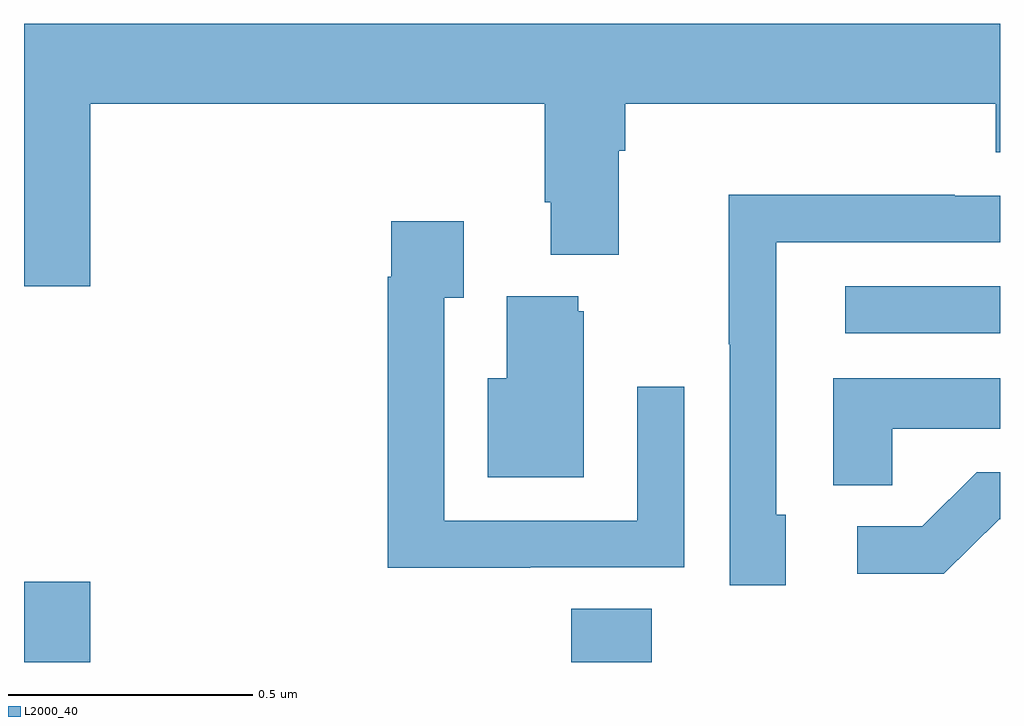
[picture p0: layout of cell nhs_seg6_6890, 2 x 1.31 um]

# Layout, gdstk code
import gdstk
lib = gdstk.Library(unit=1e-6, precision=1e-09)
def R(c, l, rs):  # rectangles x0, y0, x1, y1
    for r in rs: c.add(gdstk.rectangle(r[:2], r[2:], *l))
def P(c, l, *ps):  # polygons
    for p in ps: c.add(gdstk.Polygon(p, *l))
L2000_40 = (2000, 40)

nhs_seg6_6890 = lib.new_cell('nhs_seg6_6890')
R(nhs_seg6_6890, L2000_40, [(201,971.5,201.136,971.665), (202.121,971.5,202.286,971.609), (202.683,972.174,203,972.27)])
P(nhs_seg6_6890, L2000_40, [(201.136,972.644),(202.067,972.644),(202.067,972.442),(202.079,972.442),(202.079,972.335),(202.219,972.335),(202.219,972.548),(202.232,972.548),(202.232,972.644),(202.991,972.644),(202.991,972.545),(203,972.545),(203,972.808),(201,972.808),(201,972.27),(201.136,972.27)],
  [(202.561,971.802),(202.542,971.802),(202.542,972.36),(203,972.36),(203,972.456),(202.907,972.456),(202.907,972.458),(202.444,972.458),(202.444,972.151),(202.446,972.151),(202.446,971.658),(202.561,971.658)],
  [(202.037,971.694),(202.353,971.694),(202.353,972.064),(202.257,972.064),(202.257,971.79),(201.861,971.79),(201.861,972.247),(201.901,972.247),(201.901,972.403),(201.753,972.403),(201.753,972.29),(201.745,972.29),(201.745,971.693),(202.037,971.693)],
  [(202.147,972.219),(202.136,972.219),(202.136,972.25),(201.989,972.25),(201.989,972.082),(201.95,972.082),(201.95,971.879),(202.147,971.879)],
  [(202.779,971.978),(203,971.978),(203,972.082),(202.658,972.082),(202.658,971.863),(202.779,971.863)],
  [(202.998,971.793),(203,971.793),(203,971.889),(202.952,971.889),(202.841,971.778),(202.707,971.778),(202.707,971.681),(202.885,971.681)])

lib.write_gds('nhs_seg6_6890.gds')
